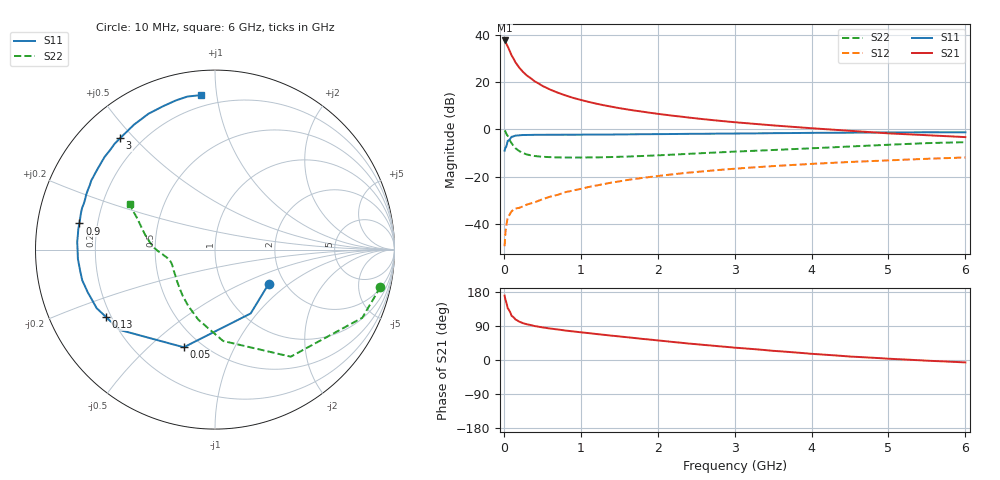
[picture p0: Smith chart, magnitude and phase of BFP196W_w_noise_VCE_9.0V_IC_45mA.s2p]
! Infineon Technologies  Discrete & RF Semiconductors
! BFP196W
! VCE =  9.0 V,  IC =  45 mA
! Common Emitter S-Parameters:  Jan 2017
# GHz  S  MA  R  50
!  f  S11  S21  S12  S22
! GHz  MAG  ANG  MAG  ANG  MAG  ANG  MAG  ANG
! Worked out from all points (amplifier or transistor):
!   77 points, 10 MHz to 6 GHz, reference 50 ohm
!   highest |S21| = 37.6 dB at 10 MHz (marker M1)
!   |S21| within 3 dB of that: start of sweep to 56.69 MHz
!   unconditionally stable (mu >= 1): 721.5 MHz to 3.27 GHz
!   at 130 MHz: K = 0.37, MSG = 31.8 dB, |S12| = -33.9 dB
!   at 2.2 GHz: K = 1.04, MAG = 11.1 dB, |S12| = -19.0 dB
!   at 6 GHz: K = 0.92, MSG = 4.3 dB, |S12| = -11.9 dB
!   lowest NFmin = 1.31 dB at 450 MHz
!   S11 on the Smith chart (normalised r, x): 10 MHz: 1.66, -0.72; 50 MHz: 0.40, -0.65; 130 MHz: 0.18, -0.27; 900 MHz: 0.13, +0.09; 3 GHz: 0.12, +0.46; 6 GHz: 0.13, +0.90
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0.01  0.3548 -32.6  75.43 169.9  0.0034 78.1  0.9451 -12.7
0.02  0.4075 -60.8  71.54 159.6  0.0065 73.8  0.9044 -24.8
0.05  0.5712 -107.7  56.32 136.9  0.0134 54.6  0.7309 -54.7
0.1  0.6948 -139.9  36.67 116.9  0.0185 41.7  0.5113 -84.9
0.13  0.7144 -148.4  30.29 111.9  0.0202 40.3  0.4392 -95.0
0.15  0.7357 -153.7  26.21 107.3  0.0213 39.5  0.4009 -103.5
0.2  0.7477 -161.4  20.14 101.3  0.0219 40.9  0.3467 -115.6
0.25  0.7591 -166.9  16.31 97.1  0.0237 42.8  0.3141 -124.9
0.3  0.7603 -170.6  13.67 94.2  0.0257 43.7  0.2942 -131.7
0.4  0.7656 -176.1  10.37 89.6  0.0287 48.0  0.2734 -141.3
0.5  0.7658 179.9  8.304 86.1  0.0332 51.9  0.2628 -147.7
0.6  0.7689 176.9  6.945 83.1  0.0378 55.0  0.2587 -152.3
0.7  0.7683 174.1  5.951 80.6  0.0413 57.5  0.2549 -155.5
0.9  0.7693 169.1  4.626 75.4  0.051 59.2  0.2537 -159.9
1.1  0.7741 164.7  3.808 71.0  0.0604 60.5  0.2546 -163.0
1.5  0.7802 156.9  2.805 62.2  0.0794 60.0  0.2629 -167.9
2.1  0.7938 145.3  2.03 49.7  0.1077 57.1  0.287 -173.7
3  0.8153 130.4  1.413 32.6  0.1471 50.3  0.338 178.4
3.1  0.817 128.9  1.37 31.1  0.151 49.5  0.3434 177.4
4.1  0.8435 114.7  1.029 15.0  0.1897 41.6  0.4044 166.9
5.1  0.8602 103.8  0.807 2.4  0.2243 33.8  0.4797 156.9
6  0.8643 95.3  0.685 -6.4  0.2547 26.8  0.5358 151.7
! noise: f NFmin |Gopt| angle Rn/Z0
0.45  1.31  0.5  -177  0.05
0.9  1.44  0.54  -172  0.07
1.9  2.26  0.69  -150  0.15
2.4  2.66  0.73  -145  0.25
